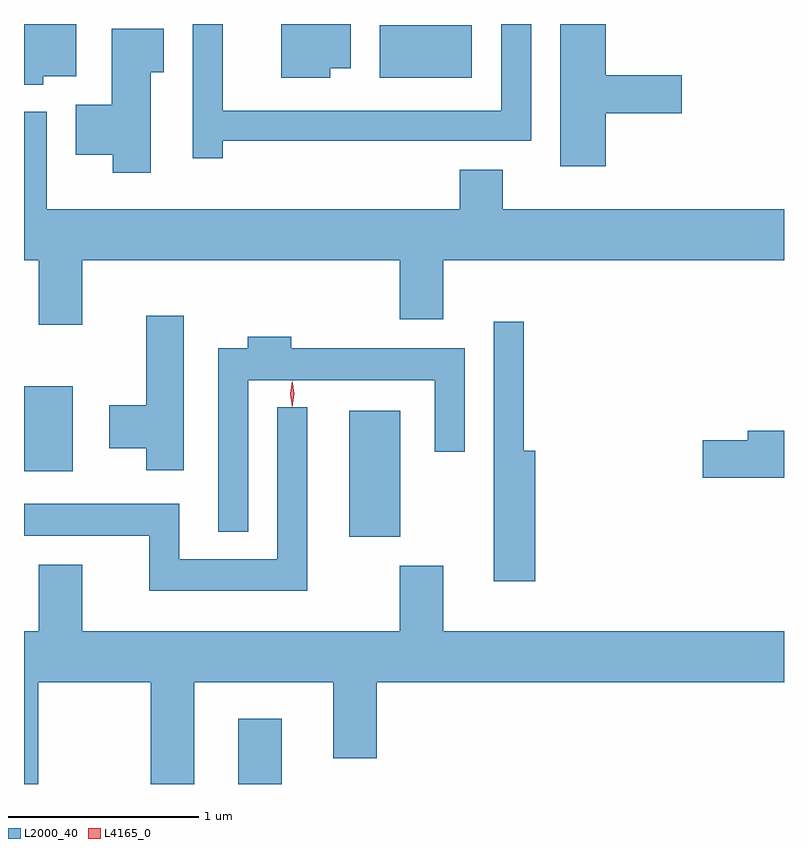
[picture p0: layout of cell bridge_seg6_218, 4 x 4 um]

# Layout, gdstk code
import gdstk
lib = gdstk.Library(unit=1e-6, precision=1e-09)
def R(c, l, rs):  # rectangles x0, y0, x1, y1
    for r in rs: c.add(gdstk.rectangle(r[:2], r[2:], *l))
def P(c, l, *ps):  # polygons
    for p in ps: c.add(gdstk.Polygon(p, *l))
L2000_40 = (2000, 40)
L4165_0 = (4165, 0)

bridge_seg6_218 = lib.new_cell('bridge_seg6_218')
R(bridge_seg6_218, L2000_40, [(1117.841,1549.5,1118.069,1549.844), (1118.426,1550.801,1118.694,1551.464), (1116.713,1551.146,1116.969,1551.594), (1118.586,1553.216,1119.069,1553.494)])
P(bridge_seg6_218, L2000_40, [(1116.814,1553.226),(1116.989,1553.226),(1116.989,1553.5),(1116.713,1553.5),(1116.713,1553.181),(1116.814,1553.181)],
  [(1119.774,1553.031),(1120.174,1553.031),(1120.174,1553.229),(1119.774,1553.229),(1119.774,1553.5),(1119.536,1553.5),(1119.536,1552.751),(1119.774,1552.751)],
  [(1118.324,1553.266),(1118.434,1553.266),(1118.434,1553.5),(1118.066,1553.5),(1118.066,1553.216),(1118.324,1553.216)],
  [(1117.759,1552.886),(1119.384,1552.886),(1119.384,1553.5),(1119.226,1553.5),(1119.226,1553.044),(1117.759,1553.044),(1117.759,1553.5),(1117.601,1553.5),(1117.601,1552.793),(1117.759,1552.793)],
  [(1117.379,1553.246),(1117.449,1553.246),(1117.449,1553.474),(1117.176,1553.474),(1117.176,1553.074),(1116.986,1553.074),(1116.986,1552.811),(1117.181,1552.811),(1117.181,1552.716),(1117.379,1552.716)],
  [(1117.019,1552.256),(1118.691,1552.256),(1118.691,1551.946),(1118.919,1551.946),(1118.919,1552.256),(1120.713,1552.256),(1120.713,1552.524),(1119.234,1552.524),(1119.234,1552.734),(1119.006,1552.734),(1119.006,1552.524),(1116.834,1552.524),(1116.834,1553.038),(1116.713,1553.038),(1116.713,1552.256),(1116.791,1552.256),(1116.791,1551.916),(1117.019,1551.916)],
  [(1117.554,1551.964),(1117.356,1551.964),(1117.356,1551.494),(1117.161,1551.494),(1117.161,1551.266),(1117.356,1551.266),(1117.356,1551.151),(1117.554,1551.151)],
  [(1119.404,1551.254),(1119.344,1551.254),(1119.344,1551.933),(1119.186,1551.933),(1119.186,1550.566),(1119.404,1550.566)],
  [(1117.894,1551.626),(1118.876,1551.626),(1118.876,1551.248),(1119.034,1551.248),(1119.034,1551.794),(1118.119,1551.794),(1118.119,1551.854),(1117.891,1551.854),(1117.891,1551.794),(1117.736,1551.794),(1117.736,1550.828),(1117.894,1550.828)],
  [(1118.204,1551.483),(1118.046,1551.483),(1118.046,1550.684),(1117.529,1550.684),(1117.529,1550.974),(1116.713,1550.974),(1116.713,1550.806),(1117.371,1550.806),(1117.371,1550.516),(1118.204,1550.516)],
  [(1120.713,1551.359),(1120.521,1551.359),(1120.521,1551.309),(1120.286,1551.309),(1120.286,1551.111),(1120.713,1551.111)],
  [(1116.789,1550.036),(1117.381,1550.036),(1117.381,1549.5),(1117.609,1549.5),(1117.609,1550.036),(1118.341,1550.036),(1118.341,1549.636),(1118.569,1549.636),(1118.569,1550.036),(1120.713,1550.036),(1120.713,1550.304),(1118.919,1550.304),(1118.919,1550.649),(1118.691,1550.649),(1118.691,1550.304),(1117.019,1550.304),(1117.019,1550.654),(1116.791,1550.654),(1116.791,1550.304),(1116.713,1550.304),(1116.713,1549.5),(1116.789,1549.5)])
P(bridge_seg6_218, L4165_0, [(1118.124,1551.484),(1118.115,1551.553),(1118.124,1551.623),(1118.125,1551.623),(1118.126,1551.623),(1118.135,1551.553),(1118.126,1551.484),(1118.125,1551.484)])

lib.write_gds('bridge_seg6_218.gds')
